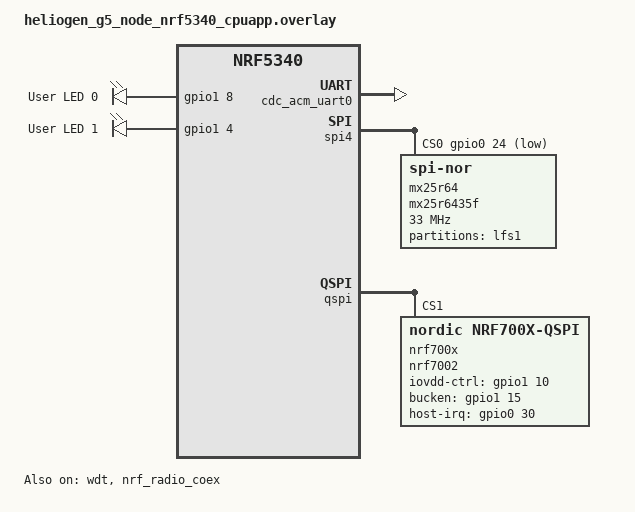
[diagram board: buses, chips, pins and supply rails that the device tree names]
/{
	aliases {
		spiflash0 = &mx25r64;
		led0=&led0;
		led1=&led1;
		watchdog0 = &wdt;
		spimain = &spi4;
	};
	leds {
		compatible = "gpio-leds";
		led0: led_0 {
			gpios = <&gpio1 8 GPIO_ACTIVE_HIGH>;
			label = "User LED 0";
		};
		led1: led_1 {
			gpios = <&gpio1 4 GPIO_ACTIVE_HIGH>;
			label = "User LED 1";
		};
	};
};



/ {
	chosen {
		nordic,pm-ext-flash = &mx25r64;
		zephyr,console = &cdc_acm_uart0;
		zephyr,shell-uart = &cdc_acm_uart0;
		zephyr,uart-mcumgr = &cdc_acm_uart0;
	};
};

&wdt {
	status = "okay";
};

&zephyr_udc0 {
	cdc_acm_uart0: cdc_acm_uart0 {
		compatible = "zephyr,cdc-acm-uart";
	};
};

&nrf_radio_coex { 
	status = "okay";
};

&spi4 {
	compatible = "nordic,nrf-spim";
	status = "okay";
	pinctrl-0 = <&spi4_default>;
	pinctrl-1 = <&spi4_sleep>;
	pinctrl-names = "default", "sleep";
	cs-gpios = <&gpio0 24 GPIO_ACTIVE_LOW>;


	mx25r64: mx25r6435f@0 {
		compatible = "jedec,spi-nor";
		reg = <0>;
		spi-max-frequency = <33000000>;
		jedec-id = [ c2 28 17  ];
		sfdp-bfp = [ e5 20 f1 ff ff ff ff 03 44 eb 08 6b 08 3b 04 bb ee ff ff ff ff ff 00 ff ff ff 00 ff 0c 20 0f 52 10 d8 00 ff 23 72 f5 00 82 ed 04 cc 44 83 68 44 30 b0 30 b0 f7 c4 d5 5c 00 be 29 ff f0 d0 ff ff  ];
		size = <67108864>;
		has-dpd;
		t-enter-dpd = <10000>;
		t-exit-dpd = <5000>;

		partitions{
			compatible = "fixed-partitions";
			#address-cells = <1>;
			#size-cells = <1>;
			lfs1_part: partition@0 {
				label = "lfs1";
				reg = <0x00000000 0x00040000>;
			};
		};

	};
};

&qspi {
	status = "okay";

	pinctrl-0 = <&qspi_default>;
	pinctrl-1 = <&qspi_sleep>;
	pinctrl-names = "default", "sleep";
	nrf700x: nrf7002@1 {
		status = "okay";
		compatible = "nordic,nrf700x-qspi";
		reg = <1>;
		sck-frequency = <24000000>;
		quad-mode;
		/* Wi-Fi Pins used */
		iovdd-ctrl-gpios = <&gpio1 10 GPIO_ACTIVE_HIGH>;
		bucken-gpios = <&gpio1 15 GPIO_ACTIVE_HIGH>;
		host-irq-gpios = <&gpio0 30 GPIO_ACTIVE_HIGH>;
	};
};

&uicr {
    nfct-pins-as-gpios;
};
